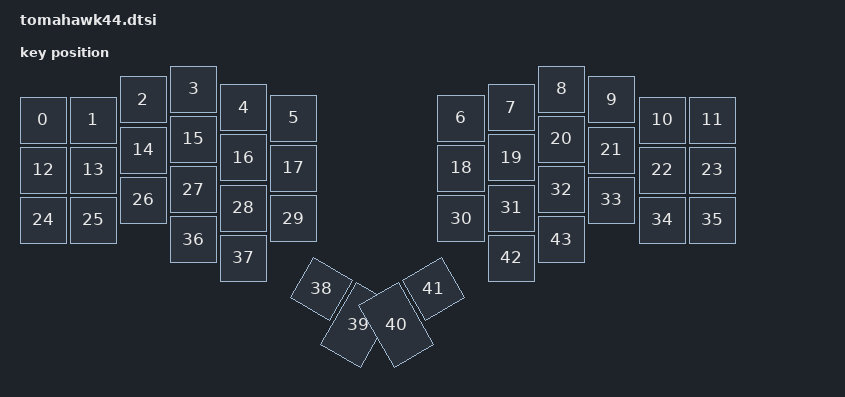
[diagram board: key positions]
#include <physical_layouts.dtsi>

/ {
    mityaliu_tomahawk44_layout: mityaliu_tomahawk44_layout {
        compatible = "zmk,physical-layout";
        display-name = "Default";

        kscan = <&kscan0>;
        transform = <&matrix_transform0>;

        keys  //                     w   h    x    y     rot    rx    ry
            = <&key_physical_attrs 100 100    0   62       0     0     0>
            , <&key_physical_attrs 100 100  100   62       0     0     0>
            , <&key_physical_attrs 100 100  200   21       0     0     0>
            , <&key_physical_attrs 100 100  301    0       0     0     0>
            , <&key_physical_attrs 100 100  401   37       0     0     0>
            , <&key_physical_attrs 100 100  501   58       0     0     0>
            , <&key_physical_attrs 100 100  836   58       0     0     0>
            , <&key_physical_attrs 100 100  937   37       0     0     0>
            , <&key_physical_attrs 100 100 1037    0       0     0     0>
            , <&key_physical_attrs 100 100 1137   21       0     0     0>
            , <&key_physical_attrs 100 100 1238   62       0     0     0>
            , <&key_physical_attrs 100 100 1338   62       0     0     0>
            , <&key_physical_attrs 100 100    0  162       0     0     0>
            , <&key_physical_attrs 100 100  100  162       0     0     0>
            , <&key_physical_attrs 100 100  200  122       0     0     0>
            , <&key_physical_attrs 100 100  301  100       0     0     0>
            , <&key_physical_attrs 100 100  401  137       0     0     0>
            , <&key_physical_attrs 100 100  501  158       0     0     0>
            , <&key_physical_attrs 100 100  836  158       0     0     0>
            , <&key_physical_attrs 100 100  937  137       0     0     0>
            , <&key_physical_attrs 100 100 1037  100       0     0     0>
            , <&key_physical_attrs 100 100 1137  122       0     0     0>
            , <&key_physical_attrs 100 100 1238  162       0     0     0>
            , <&key_physical_attrs 100 100 1338  162       0     0     0>
            , <&key_physical_attrs 100 100    0  262       0     0     0>
            , <&key_physical_attrs 100 100  100  262       0     0     0>
            , <&key_physical_attrs 100 100  200  222       0     0     0>
            , <&key_physical_attrs 100 100  301  201       0     0     0>
            , <&key_physical_attrs 100 100  401  238       0     0     0>
            , <&key_physical_attrs 100 100  501  259       0     0     0>
            , <&key_physical_attrs 100 100  836  259       0     0     0>
            , <&key_physical_attrs 100 100  937  238       0     0     0>
            , <&key_physical_attrs 100 100 1037  201       0     0     0>
            , <&key_physical_attrs 100 100 1137  222       0     0     0>
            , <&key_physical_attrs 100 100 1238  262       0     0     0>
            , <&key_physical_attrs 100 100 1338  262       0     0     0>
            , <&key_physical_attrs 100 100  301  301       0     0     0>
            , <&key_physical_attrs 100 100  401  338       0     0     0>
            , <&key_physical_attrs 100 100  507  387    3000   557   537>
            , <&key_physical_attrs 100 150  593  437    3000   643   587>
            , <&key_physical_attrs 100 150  744  437 (-3000)   794   587>
            , <&key_physical_attrs 100 100  831  387 (-3000)   881   537>
            , <&key_physical_attrs 100 100  937  338       0     0     0>
            , <&key_physical_attrs 100 100 1037  301       0     0     0>
            ;
    };
};
